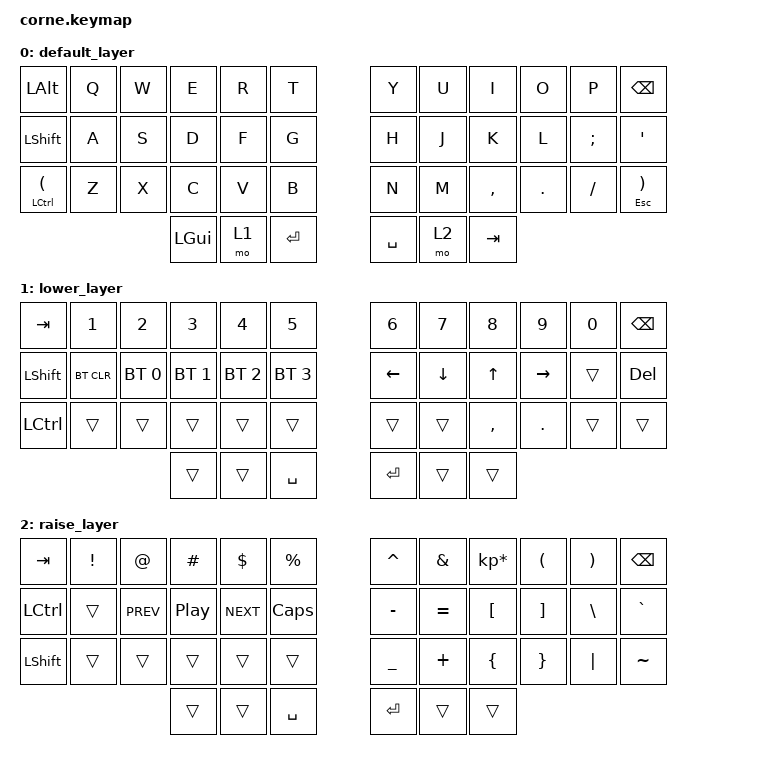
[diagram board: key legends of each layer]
/*
 * Copyright (c) 2020 The ZMK Contributors
 *
 * SPDX-License-Identifier: MIT
 */

#include <behaviors.dtsi>
#include <dt-bindings/zmk/bt.h>
#include <dt-bindings/zmk/keys.h>

/ {
    combos {
        compatible = "zmk,combos";

        switchwin {
            bindings = <&kp LA(TAB)>;
            key-positions = <16 15>;
        };
    };

    keymap {
        compatible = "zmk,keymap";

        default_layer {
            // -----------------------------------------------------------------------------------------
            // | LALT |  Q  |  W  |  E  |  R  |  T  |   |  Y  |  U   |  I  |  O  |  P  | BKSP |
            // | SHFT |  A  |  S  |  D  |  F  |  G  |   |  H  |  J   |  K  |  L  |  ;  |  '   |
            // | LCTRL|  Z  |  X  |  C  |  V  |  B  |   |  N  |  M   |  ,  |  .  |  /  | ESC  |
            //                    |GUITB| LWR | RET |   | SPC | RSE  | ALT |

            bindings = <
&kp LALT        &kp Q  &kp W  &kp E         &kp R  &kp T      &kp Y      &kp U  &kp I      &kp O    &kp P     &kp BSPC
&kp LSHFT       &kp A  &kp S  &kp D         &kp F  &kp G      &kp H      &kp J  &kp K      &kp L    &kp SEMI  &kp SQT
&mt LCTRL LPAR  &kp Z  &kp X  &kp C         &kp V  &kp B      &kp N      &kp M  &kp COMMA  &kp DOT  &kp FSLH  &mt ESC RPAR
                              &kp LEFT_GUI  &mo 1  &kp RET    &kp SPACE  &mo 2  &kp TAB
            >;
        };

        lower_layer {
            // -----------------------------------------------------------------------------------------
            // |  TAB |  1  |  2  |  3  |  4  |  5  |   |  6  |  7  |  8  |  9  |  0  | BKSP |
            // | SHFT |BTCLR| BT1 | BT2 | BT3 | BT4 |   | LFT | DWN |  UP | RGT |     | DEL  |
            // | LCTRL|     |     | prv | ply | nxt |   |     |     |  ,  |  .  |     |      |
            //                    | GUI |     | SPC |   | ENT |     | ALT |

            bindings = <
&kp TAB    &kp N1      &kp N2        &kp N3        &kp N4        &kp N5          &kp N6    &kp N7    &kp N8     &kp N9     &kp N0  &kp BSPC
&kp LSHFT  &bt BT_CLR  &bt BT_SEL 0  &bt BT_SEL 1  &bt BT_SEL 2  &bt BT_SEL 3    &kp LEFT  &kp DOWN  &kp UP     &kp RIGHT  &trans  &kp DEL
&kp LCTRL  &trans      &trans        &trans        &trans        &trans          &trans    &trans    &kp COMMA  &kp DOT    &trans  &trans
                                     &trans        &trans        &kp SPACE       &kp RET   &trans    &trans
            >;
        };

        raise_layer {
            // -----------------------------------------------------------------------------------------
            // |  TAB |  !  |  @  |  #  |  $  |  %  |   |  ^  |  &  |  *  |  (  |  )  | BKSP |
            // | CTRL |     |     |     |     | CAPS|   |  -  |  =  |  [  |  ]  |  \  |  `   |
            // | SHFT |     |     |     |     |     |   |  _  |  +  |  {  |  }  | "|" |  ~   |
            //                    | GUI |     | SPC |   | ENT |     | ALT |

            bindings = <
&kp TAB    &kp EXCL  &kp AT      &kp HASH          &kp DLLR    &kp PRCNT    &kp CARET  &kp AMPS   &kp KP_MULTIPLY  &kp LPAR  &kp RPAR  &kp BSPC
&kp LCTRL  &trans    &kp C_PREV  &kp C_PLAY_PAUSE  &kp C_NEXT  &kp CAPS     &kp MINUS  &kp EQUAL  &kp LBKT         &kp RBKT  &kp BSLH  &kp GRAVE
&kp LSHFT  &trans    &trans      &trans            &trans      &trans       &kp UNDER  &kp PLUS   &kp LBRC         &kp RBRC  &kp PIPE  &kp TILDE
                                 &trans            &trans      &kp SPACE    &kp RET    &trans     &trans
            >;
        };
    };
};
